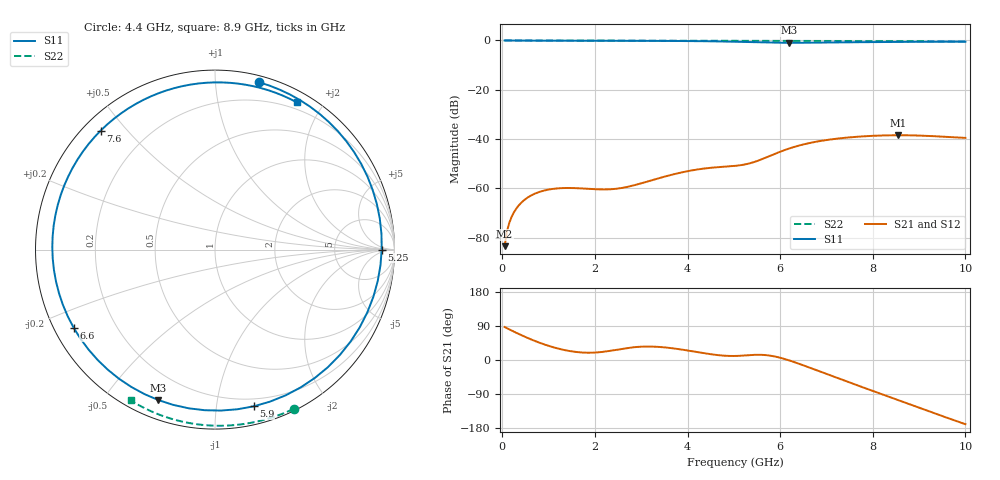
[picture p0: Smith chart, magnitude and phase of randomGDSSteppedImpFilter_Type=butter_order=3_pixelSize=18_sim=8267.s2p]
! freq	dB(S11)	phase(S11)	dB(S12)	phase(S12)
!  dB(S21)	phase(S21)	dB(S22)	phase(S22)
!S-par simulation data
#  GHz  S  DB  R 50
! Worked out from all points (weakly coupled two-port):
!   200 points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, 50 MHz to 10 GHz, reference 50 ohm
!   highest |S21| = -38.47 dB at 8.55 GHz (marker M1); lowest = -83.5 dB at 50 MHz (marker M2)
!   lowest |S11| = -1.0 dB at 6.2 GHz (marker M3), VSWR 18.20, Z = 4.06 - j34.5 ohm
!   |S11| at or under -10 dB: nowhere
!   |S22| runs from -0.4 to 0.0 dB; largest |S21 - S12| = 0
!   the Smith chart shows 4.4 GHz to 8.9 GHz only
!   S11 on the Smith chart (normalised r, x): 4.4 GHz: 0.05, +1.30; 5.25 GHz: 27, +0; 5.9 GHz: 0.14, -1.27; 6.6 GHz: 0.06, -0.26; 7.6 GHz: 0.05, +0.43; 8.9 GHz: 0.12, +1.69
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0.05  -0.01 -5.5  -83.50 87.0  -83.50 87.0  -0.00 -0.8
0.3  -0.04 -31.9  -68.31 71.9  -68.31 71.9  -0.01 -4.6
0.8  -0.09 -79.3  -61.48 45.7  -61.48 45.7  -0.02 -12.1
1.2  -0.11 -110.3  -60.03 30.3  -60.03 30.3  -0.02 -18.1
1.75  -0.12 -144.7  -60.10 19.6  -60.10 19.6  -0.03 -26.3
2.55  -0.14 174.4  -59.97 28.7  -59.97 28.7  -0.05 -37.9
3.4  -0.18 133.6  -55.81 34.4  -55.81 34.4  -0.07 -50.0
3.95  -0.23 104.1  -53.26 26.1  -53.26 26.1  -0.08 -57.6
4.4  -0.32 75.3  -51.90 17.2  -51.90 17.2  -0.09 -63.8
5.05  -0.54 20.7  -50.86 10.7  -50.86 10.7  -0.11 -72.4
5.25  -0.64 0.0  -50.29 12.0  -50.29 12.0  -0.12 -75.0
5.55  -0.79 -34.2  -48.61 13.8  -48.61 13.8  -0.13 -78.9
5.9  -0.92 -76.1  -45.92 8.9  -45.92 8.9  -0.14 -83.3
6.2  -0.96 -110.6  -43.83 -1.2  -43.83 -1.2  -0.16 -87.1
6.6  -0.92 -151.0  -41.78 -18.5  -41.78 -18.5  -0.18 -92.1
6.7  -0.90 -160.0  -41.38 -23.1  -41.38 -23.1  -0.18 -93.3
7.1  -0.82 167.8  -40.15 -41.4  -40.15 -41.4  -0.20 -98.2
7.6  -0.73 133.8  -39.18 -63.9  -39.18 -63.9  -0.23 -104.1
8.35  -0.62 90.2  -38.51 -97.1  -38.51 -97.1  -0.29 -112.9
8.55  -0.59 79.4  -38.47 -105.9  -38.47 -105.9  -0.30 -115.2
8.9  -0.55 61.0  -38.55 -121.4  -38.55 -121.4  -0.33 -119.3
10  -0.51 5.4  -39.55 -169.3  -39.55 -169.3  -0.44 -131.8
